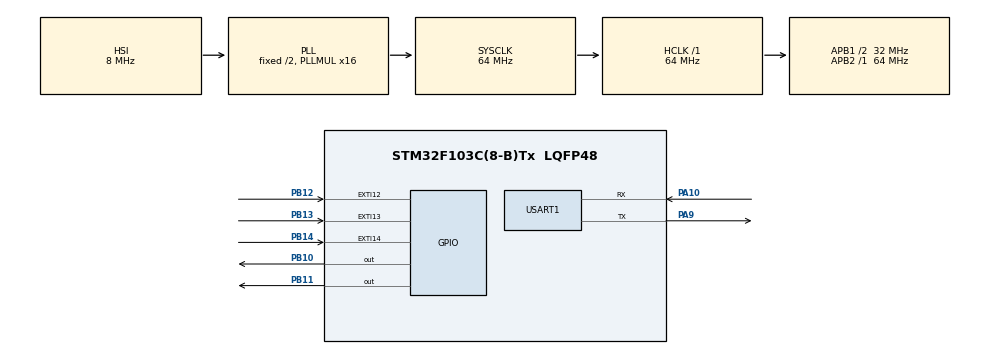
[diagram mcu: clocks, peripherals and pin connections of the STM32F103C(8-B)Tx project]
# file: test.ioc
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Mcu.Family=STM32F1
Mcu.Name=STM32F103C(8-B)Tx
Mcu.Package=LQFP48
NVIC.EXTI15_10_IRQn=true\:0\:0\:false\:false\:true\:true
NVIC.PriorityGroup=NVIC_PRIORITYGROUP_4
NVIC.USART1_IRQn=true\:0\:0\:false\:false\:true\:true
PA10.Mode=Asynchronous
PA10.Signal=USART1_RX
PA13.Mode=Serial_Wire
PA13.Signal=SYS_JTMS-SWDIO
PA14.Mode=Serial_Wire
PA14.Signal=SYS_JTCK-SWCLK
PA9.Mode=Asynchronous
PA9.Signal=USART1_TX
PB10.Signal=GPIO_Output
PB11.Signal=GPIO_Output
PB12.Signal=GPXTI12
PB13.Signal=GPXTI13
PB14.Signal=GPXTI14
ProjectManager.HeapSize=0x200
ProjectManager.StackSize=0x400
ProjectManager.TargetToolchain=MDK-ARM V5
RCC.AHBFreq_Value=64000000
RCC.APB1CLKDivider=RCC_HCLK_DIV2
RCC.APB1Freq_Value=32000000
RCC.APB1TimFreq_Value=64000000
RCC.APB2Freq_Value=64000000
RCC.APB2TimFreq_Value=64000000
RCC.HCLKFreq_Value=64000000
RCC.PLLMUL=RCC_PLL_MUL16
RCC.SYSCLKFreq_VALUE=64000000
RCC.SYSCLKSource=RCC_SYSCLKSOURCE_PLLCLK
RCC.USBFreq_Value=64000000
USART1.VirtualMode=VM_ASYNC
board=test

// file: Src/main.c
/**
  ******************************************************************************
  * File Name          : main.c
  * Description        : Main program body
  ******************************************************************************
  ** This notice applies to any and all portions of this file
  * that are not between comment pairs USER CODE BEGIN and
  * USER CODE END. Other portions of this file, whether
  * inserted by the user or by software development tools
  * are owned by their respective copyright owners.
  *
  * COPYRIGHT(c) 2018 STMicroelectronics
  *
  * Redistribution and use in source and binary forms, with or without modification,
  * are permitted provided that the following conditions are met:
  *   1. Redistributions of source code must retain the above copyright notice,
  *      this list of conditions and the following disclaimer.
  *   2. Redistributions in binary form must reproduce the above copyright notice,
  *      this list of conditions and the following disclaimer in the documentation
  *      and/or other materials provided with the distribution.
  *   3. Neither the name of STMicroelectronics nor the names of its contributors
  *      may be used to endorse or promote products derived from this software
  *      without specific prior written permission.
  *
  * THIS SOFTWARE IS PROVIDED BY THE COPYRIGHT HOLDERS AND CONTRIBUTORS "AS IS"
  * AND ANY EXPRESS OR IMPLIED WARRANTIES, INCLUDING, BUT NOT LIMITED TO, THE
  * IMPLIED WARRANTIES OF MERCHANTABILITY AND FITNESS FOR A PARTICULAR PURPOSE ARE
  * DISCLAIMED. IN NO EVENT SHALL THE COPYRIGHT HOLDER OR CONTRIBUTORS BE LIABLE
  * FOR ANY DIRECT, INDIRECT, INCIDENTAL, SPECIAL, EXEMPLARY, OR CONSEQUENTIAL
  * DAMAGES (INCLUDING, BUT NOT LIMITED TO, PROCUREMENT OF SUBSTITUTE GOODS OR
  * SERVICES; LOSS OF USE, DATA, OR PROFITS; OR BUSINESS INTERRUPTION) HOWEVER
  * CAUSED AND ON ANY THEORY OF LIABILITY, WHETHER IN CONTRACT, STRICT LIABILITY,
  * OR TORT (INCLUDING NEGLIGENCE OR OTHERWISE) ARISING IN ANY WAY OUT OF THE USE
  * OF THIS SOFTWARE, EVEN IF ADVISED OF THE POSSIBILITY OF SUCH DAMAGE.
  *
  ******************************************************************************
  */

#include "main.h"
#include "stm32f1xx_hal.h"
#include "usart.h"
#include "gpio.h"

/* USER CODE BEGIN PV */
/* Private variables ---------------------------------------------------------*/
commit_para commit;
unsigned int gEventFlag = 0;
unsigned int gSysTick;
/* USER CODE END PV */

void SystemClock_Config(void);

/* USER CODE BEGIN PFP */
/* Private function prototypes -----------------------------------------------*/

/* USER CODE END PFP */

int main(void)
{

  /* USER CODE BEGIN 1 */
  uint32_t curSysTick = 0;
  uint32_t delayTick = 0;
  uint16_t delay_count = 0;
  uint8_t buffer[10] = {'@','1','#'};
  uint32_t last_pin_state = GPIO_PIN_12 | GPIO_PIN_13 | GPIO_PIN_14;
  uint32_t cur_pin_state = 0;
  commit.commit_cmd_index = 0;
  /* USER CODE END 1 */

  /* MCU Configuration----------------------------------------------------------*/

  /* Reset of all peripherals, Initializes the Flash interface and the Systick. */
  HAL_Init();

  /* Configure the system clock */
  SystemClock_Config();

  /* Initialize all configured peripherals */
  MX_GPIO_Init();
  MX_USART1_UART_Init();

  /* Infinite loop */
  while (1)
  {
	if ((gEventFlag & EVENT_POINT_PUSH_DOWN) == EVENT_POINT_PUSH_DOWN)
	{
		curSysTick = HAL_GetTick();
		if ((curSysTick - gSysTick) > 10)
		{
			cur_pin_state = GPIOB->IDR & (GPIO_PIN_12 | GPIO_PIN_13 | GPIO_PIN_14);
			if (cur_pin_state == last_pin_state)
			{
				if (delay_count ++ > 100)
				{
					if(HAL_GPIO_ReadPin(GPIOB,GPIO_PIN_12) == GPIO_PIN_RESET)
					{
						commit.commit_cmd[commit.commit_cmd_index] = COMMIT_CMD_OPCODE_POINT_ONE;
						commit.commit_cmd_index++;
					}
					else if(HAL_GPIO_ReadPin(GPIOB,GPIO_PIN_13) == GPIO_PIN_RESET)
					{
						commit.commit_cmd[commit.commit_cmd_index] = COMMIT_CMD_OPCODE_POINT_TWO;
						commit.commit_cmd_index++;
					}
					else if(HAL_GPIO_ReadPin(GPIOB,GPIO_PIN_14) == GPIO_PIN_RESET)
					{
						commit.commit_cmd[commit.commit_cmd_index] = COMMIT_CMD_OPCODE_POINT_THREE;
						commit.commit_cmd_index++;
					}
					gEventFlag &= ~EVENT_POINT_PUSH_DOWN;
				}
			}
			else
			{
				last_pin_state = cur_pin_state;
				delay_count = 0;
			}
			gSysTick = HAL_GetTick();
		}
	}
	if (commit.commit_cmd_index>0)
	{
		commit.commit_cmd_index--;
		switch(commit.commit_cmd[commit.commit_cmd_index])
		{
			case COMMIT_CMD_OPCODE_POINT_ONE:
				buffer[1] = 'a';
				break;
			case COMMIT_CMD_OPCODE_POINT_TWO:
				buffer[1] = 's';
				break;
			case COMMIT_CMD_OPCODE_POINT_THREE:
				buffer[1] = 'd';
				break;
		}
		//uart send
		HAL_UART_Transmit(&huart1,&buffer[1],1,HAL_MAX_DELAY);
	}
	if ((HAL_GetTick() - delayTick) > 1000)
	{
		delayTick = HAL_GetTick();
		HAL_GPIO_TogglePin(GPIOB,GPIO_PIN_11);
	}
  }

}

/** System Clock Configuration
*/
void SystemClock_Config(void)
{

  RCC_OscInitTypeDef RCC_OscInitStruct;
  RCC_ClkInitTypeDef RCC_ClkInitStruct;

    /**Initializes the CPU, AHB and APB busses clocks
    */
  RCC_OscInitStruct.OscillatorType = RCC_OSCILLATORTYPE_HSI;
  RCC_OscInitStruct.HSIState = RCC_HSI_ON;
  RCC_OscInitStruct.HSICalibrationValue = 16;
  RCC_OscInitStruct.PLL.PLLState = RCC_PLL_ON;
  RCC_OscInitStruct.PLL.PLLSource = RCC_PLLSOURCE_HSI_DIV2;
  RCC_OscInitStruct.PLL.PLLMUL = RCC_PLL_MUL16;
  if (HAL_RCC_OscConfig(&RCC_OscInitStruct) != HAL_OK)
  {
    _Error_Handler(__FILE__, __LINE__);
  }

    /**Initializes the CPU, AHB and APB busses clocks
    */
  RCC_ClkInitStruct.ClockType = RCC_CLOCKTYPE_HCLK|RCC_CLOCKTYPE_SYSCLK
                              |RCC_CLOCKTYPE_PCLK1|RCC_CLOCKTYPE_PCLK2;
  RCC_ClkInitStruct.SYSCLKSource = RCC_SYSCLKSOURCE_PLLCLK;
  RCC_ClkInitStruct.AHBCLKDivider = RCC_SYSCLK_DIV1;
  RCC_ClkInitStruct.APB1CLKDivider = RCC_HCLK_DIV2;
  RCC_ClkInitStruct.APB2CLKDivider = RCC_HCLK_DIV1;

  if (HAL_RCC_ClockConfig(&RCC_ClkInitStruct, FLASH_LATENCY_2) != HAL_OK)
  {
    _Error_Handler(__FILE__, __LINE__);
  }

    /**Configure the Systick interrupt time
    */
  HAL_SYSTICK_Config(HAL_RCC_GetHCLKFreq()/1000);

    /**Configure the Systick
    */
  HAL_SYSTICK_CLKSourceConfig(SYSTICK_CLKSOURCE_HCLK);

  /* SysTick_IRQn interrupt configuration */
  HAL_NVIC_SetPriority(SysTick_IRQn, 0, 0);
}

/* USER CODE BEGIN 4 */
void HAL_GPIO_EXTI_Callback(uint16_t GPIO_Pin)
{
//	if (GPIO_Pin == GPIO_PIN_12)
//	{
//		gEventFlag = EVENT_POINT_ONE;
//	}
//	else if (GPIO_Pin == GPIO_PIN_13)
//	{
//		gEventFlag = EVENT_POINT_TWO;
//	}
//	else if (GPIO_Pin == GPIO_PIN_14)
//	{
//		gEventFlag = EVENT_POINT_THREE;
//	}
	gSysTick = HAL_GetTick();
	gEventFlag |= EVENT_POINT_PUSH_DOWN;
}

void HAL_UART_TxCpltCallback(UART_HandleTypeDef *huart)
{
}

void HAL_UART_RxCpltCallback(UART_HandleTypeDef *huart)
{
}

/* USER CODE END 4 */

void _Error_Handler(char * file, int line)
{
  while(1)
  {
  }
}

/************************ (C) COPYRIGHT STMicroelectronics *****END OF FILE****/
